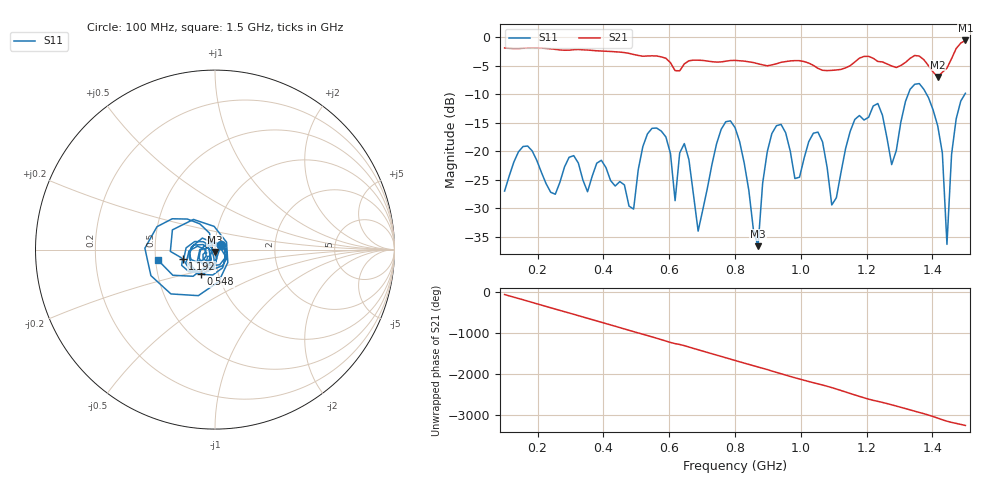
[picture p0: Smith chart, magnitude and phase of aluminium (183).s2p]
! NanoVNA-App
! Date: 2025-09-25 14:56:42
! Start: 100MHz Stop: 1,5GHz Points: 101
! S-Parameter data: F S11 S21 S12 S22
# Hz S RI R 50
!  Frequency  S11_Real  S11_Imag  S21_Real  S21_Imag  S12_Real  S12_Imag  S22_Real  S22_Imag
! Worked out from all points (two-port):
!   101 points, 100 MHz to 1.5 GHz, reference 50 ohm
!   highest |S21| = -0.62 dB at 1.5 GHz (marker M1); lowest = -7.0 dB at 1.416 GHz (marker M2)
!   |S21| within 3 dB of the highest: start of sweep to 583.4 MHz; 1.459 GHz to end of sweep (the widest 2 of 4)
!   lowest |S11| = -36.6 dB at 870 MHz (marker M3), VSWR 1.03, Z = 49.9 - j1.47 ohm
!   |S11| at or under -10 dB: start of sweep to 1.326 GHz; 1.382 GHz to 1.499 GHz (116.7 MHz wide, 8.1 % of centre)
!   S12 and S22 are empty: the file has one direction only
!   S11 on the Smith chart (normalised r, x): 100 MHz: 1.07, +0.06; 548 MHz: 0.82, -0.23; 1.192 GHz: 0.69, -0.07; 1.5 GHz: 0.52, -0.07
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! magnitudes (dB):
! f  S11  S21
! 100 MHz  -27.0  -1.9
! 156 MHz  -19.2  -2.0
! 338 MHz  -25.1  -2.3
! 492 MHz  -30.1  -3.1
! 548 MHz  -16.0  -3.3
! 576 MHz  -16.5  -3.5
! 618 MHz  -28.6  -5.9
! 646 MHz  -18.7  -4.7
! 688 MHz  -34.0  -4.1
! 800 MHz  -15.8  -4.1
! 870 MHz  -36.6  -4.7
! 912 MHz  -16.9  -4.9
! 982 MHz  -24.8  -4.1
! 1.038 GHz  -16.8  -5.0
! 1.094 GHz  -29.4  -5.8
! 1.192 GHz  -14.5  -3.4
! 1.276 GHz  -22.3  -5.1
! 1.346 GHz  -8.3  -3.2
! 1.416 GHz  -15.6  -7.0
! 1.444 GHz  -36.3  -5.5
! 1.458 GHz  -20.5  -3.8
! 1.5 GHz  -9.9  -0.6
